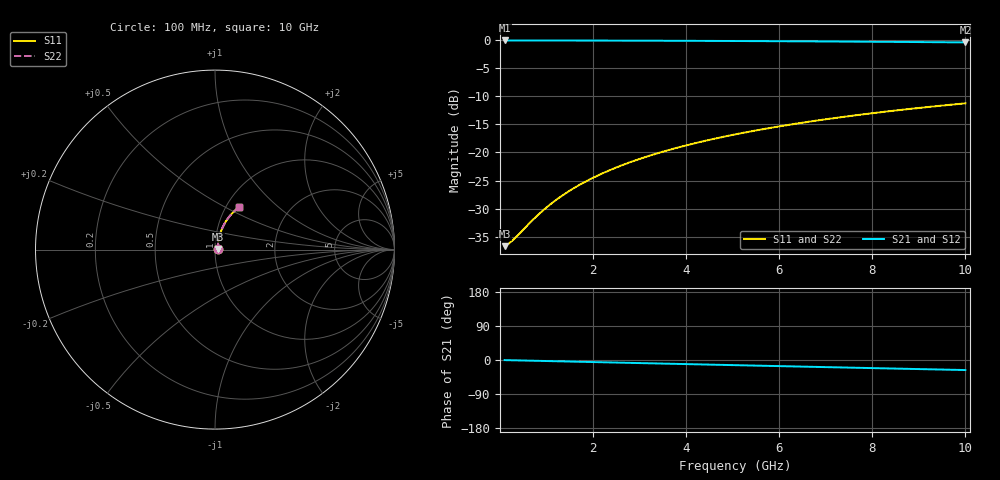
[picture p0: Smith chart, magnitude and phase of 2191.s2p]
# Hz S RI R 50.00
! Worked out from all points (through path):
!   100 points, 100 MHz to 10 GHz, reference 50 ohm
!   highest |S21| = -0.13 dB at 100 MHz (marker M1); lowest = -0.5 dB at 10 GHz (marker M2)
!   group delay of S21, straight-line fit = 7.37 ps
!   lowest |S11| = -36.6 dB at 100 MHz (marker M3), VSWR 1.03, Z = 51.5 + j0.291 ohm
!   |S11| at or under -10 dB: start of sweep to end of sweep
!   |S22| runs from -36.6 to -11.3 dB; largest |S21 - S12| = 0
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1e8  0.0145 0.00282  0.9855 -0.00467  0.9855 -0.00467  0.0145 0.00282
2e8  0.0146 0.00565  0.9854 -0.00933  0.9854 -0.00933  0.0146 0.00565
3e8  0.0147 0.00847  0.9852 -0.014  0.9852 -0.014  0.0147 0.00847
6e8  0.0152 0.0169  0.9847 -0.028  0.9847 -0.028  0.0152 0.0169
8e8  0.0157 0.0225  0.9842 -0.0373  0.9842 -0.0373  0.0157 0.0225
9e8  0.0159 0.0254  0.9839 -0.042  0.9839 -0.042  0.0159 0.0254
1.1e9  0.0165 0.031  0.9832 -0.0512  0.9832 -0.0512  0.0165 0.031
1.4e9  0.0176 0.0393  0.982 -0.0652  0.982 -0.0652  0.0176 0.0393
1.6e9  0.0185 0.0449  0.9811 -0.0744  0.9811 -0.0744  0.0185 0.0449
1.8e9  0.0194 0.0505  0.98 -0.0837  0.98 -0.0837  0.0194 0.0505
2.1e9  0.021 0.0587  0.9782 -0.0975  0.9782 -0.0975  0.021 0.0587
2.5e9  0.0235 0.0697  0.9754 -0.1158  0.9754 -0.1158  0.0235 0.0697
2.9e9  0.0264 0.0805  0.9721 -0.1341  0.9721 -0.1341  0.0264 0.0805
3.4e9  0.0306 0.0939  0.9674 -0.1567  0.9674 -0.1567  0.0306 0.0939
3.8e9  0.0344 0.1044  0.9631 -0.1746  0.9631 -0.1746  0.0344 0.1044
4.2e9  0.0385 0.1147  0.9584 -0.1923  0.9584 -0.1923  0.0385 0.1147
5.1e9  0.0492 0.1373  0.9462 -0.2315  0.9462 -0.2315  0.0492 0.1373
5.9e9  0.0603 0.1564  0.9336 -0.2655  0.9336 -0.2655  0.0603 0.1564
6.7e9  0.0726 0.1745  0.9196 -0.2985  0.9196 -0.2985  0.0726 0.1745
7.5e9  0.0861 0.1915  0.9041 -0.3304  0.9041 -0.3304  0.0861 0.1915
8.4e9  0.1026 0.2093  0.885 -0.365  0.885 -0.365  0.1026 0.2093
1e10  0.1348 0.237  0.8476 -0.4227  0.8476 -0.4227  0.1348 0.237
